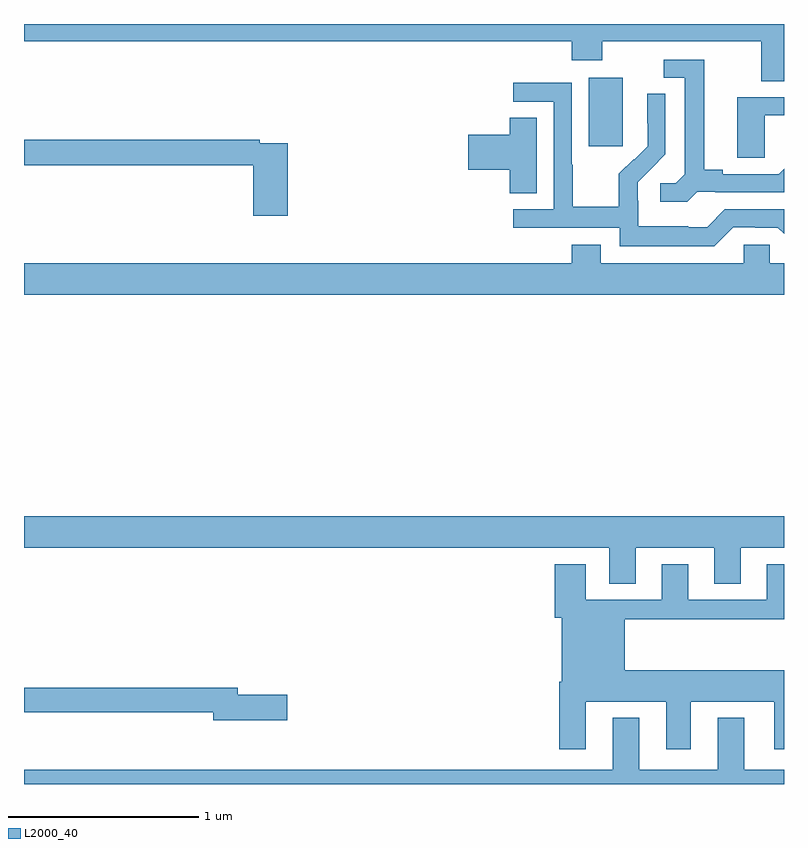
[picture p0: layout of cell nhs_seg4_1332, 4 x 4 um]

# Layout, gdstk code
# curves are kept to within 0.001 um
import gdstk
lib = gdstk.Library(unit=1e-6, precision=1e-09)
def R(c, l, rs):  # rectangles x0, y0, x1, y1
    for r in rs: c.add(gdstk.rectangle(r[:2], r[2:], *l))
def P(c, l, *ps):  # polygons
    for p in ps: c.add(gdstk.Polygon(p, *l))
L2000_40 = (2000, 40)

nhs_seg4_1332 = lib.new_cell('nhs_seg4_1332')
R(nhs_seg4_1332, L2000_40, [(181.973,808.257,182.152,808.618)])
P(nhs_seg4_1332, L2000_40, [(183,808.9),(179,808.9),(179,808.808),(181.883,808.808),(181.883,808.709),(182.043,808.709),(182.043,808.808),(182.879,808.808),(182.879,808.6),(183,808.6)],
  [(182.544,808.017),(182.638,808.017),(182.638,808.014),(183,808.014),(183,808.138),(182.972,808.11),(182.677,808.11),(182.677,808.133),(182.581,808.133),(182.581,808.713),(182.367,808.713),(182.367,808.617),(182.477,808.617),(182.477,808.109),(182.43,808.062),(182.349,808.062),(182.349,807.965),(182.492,807.965)],
  [(182.733,807.831),(182.849,807.831),(182.849,807.828),(182.967,807.828),(183,807.795),(183,807.924),(182.688,807.924),(182.595,807.831),(182.495,807.831),(182.495,807.835),(182.232,807.835),(182.232,807.969),(182.23,807.969),(182.23,808.066),(182.376,808.214),(182.376,808.532),(182.28,808.532),(182.28,808.378),(182.282,808.378),(182.282,808.256),(182.211,808.185),(182.208,808.188),(182.131,808.111),(182.131,807.937),(181.887,807.937),(181.887,808.16),(181.884,808.16),(181.884,808.59),(181.575,808.59),(181.575,808.491),(181.788,808.491),(181.788,807.924),(181.575,807.924),(181.575,807.828),(182.136,807.828),(182.136,807.731),(182.633,807.731)],
  [(182.898,808.419),(183,808.419),(183,808.515),(182.753,808.515),(182.753,808.195),(182.898,808.195)],
  [(181.699,808.406),(181.556,808.406),(181.556,808.316),(181.338,808.316),(181.338,808.133),(181.556,808.133),(181.556,808.009),(181.699,808.009)],
  [(180.389,808.272),(180.242,808.272),(180.242,808.292),(179,808.292),(179,808.156),(180.206,808.156),(180.206,807.891),(180.389,807.891)],
  [(183,807.64),(182.925,807.64),(182.925,807.738),(182.787,807.738),(182.787,807.64),(182.035,807.64),(182.035,807.739),(181.883,807.739),(181.883,807.64),(179,807.64),(179,807.476),(183,807.476)],
  [(182.221,806.144),(182.633,806.144),(182.633,805.954),(182.773,805.954),(182.773,806.144),(183,806.144),(183,806.308),(179,806.308),(179,806.144),(182.081,806.144),(182.081,805.954),(182.221,805.954)],
  [(181.957,805.334),(182.381,805.334),(182.381,805.083),(182.509,805.083),(182.509,805.334),(182.948,805.334),(182.948,805.083),(183,805.083),(183,805.498),(182.161,805.498),(182.161,805.768),(183,805.768),(183,806.056),(182.909,806.056),(182.909,805.869),(182.497,805.869),(182.497,806.056),(182.357,806.056),(182.357,805.869),(181.957,805.869),(181.957,806.056),(181.793,806.056),(181.793,805.776),(181.829,805.776),(181.829,805.438),(181.817,805.438),(181.817,805.083),(181.957,805.083)],
  [(180.385,805.37),(180.124,805.37),(180.124,805.406),(179,805.406),(179,805.278),(179.996,805.278),(179.996,805.235),(180.385,805.235)],
  [(183,804.976),(182.791,804.976),(182.791,805.249),(182.651,805.249),(182.651,804.976),(182.239,804.976),(182.239,805.249),(182.099,805.249),(182.099,804.976),(179,804.976),(179,804.9),(183,804.9)])

lib.write_gds('nhs_seg4_1332.gds')
